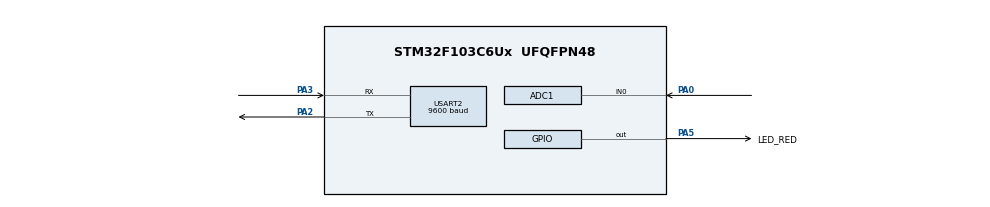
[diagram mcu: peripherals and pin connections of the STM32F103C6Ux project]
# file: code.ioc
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ADC1.Channel-0\#ChannelRegularConversion=ADC_CHANNEL_0
ADC1.ContinuousConvMode=ENABLE
ADC1.NbrOfConversionFlag=1
ADC1.Rank-0\#ChannelRegularConversion=1
ADC1.SamplingTime-0\#ChannelRegularConversion=ADC_SAMPLETIME_1CYCLE_5
ADC1.master=1
Mcu.Family=STM32F1
Mcu.Name=STM32F103C6Ux
Mcu.Package=UFQFPN48
NVIC.PriorityGroup=NVIC_PRIORITYGROUP_4
NVIC.TIM2_IRQn=true\:0\:0\:false\:false\:true\:true\:true
NVIC.USART2_IRQn=true\:0\:0\:false\:false\:true\:true\:true
PA0-WKUP.Signal=ADCx_IN0
PA2.Mode=Asynchronous
PA2.Signal=USART2_TX
PA3.Mode=Asynchronous
PA3.Signal=USART2_RX
PA5.GPIO_Label=LED_RED
PA5.Signal=GPIO_Output
ProjectManager.HeapSize=0x200
ProjectManager.StackSize=0x400
ProjectManager.TargetToolchain=STM32CubeIDE
RCC.APB1Freq_Value=8000000
RCC.APB2Freq_Value=8000000
SH.ADCx_IN0.0=ADC1_IN0,IN0
TIM2.Period=9
TIM2.Prescaler=7999
USART2.BaudRate=9600
USART2.VirtualMode=VM_ASYNC
VP_SYS_VS_ND.Mode=No_Debug
VP_TIM2_VS_ClockSourceINT.Mode=Internal
board=custom

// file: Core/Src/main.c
/* USER CODE BEGIN Header */
/**
  ******************************************************************************
  * @file           : main.c
  * @brief          : Main program body
  ******************************************************************************
  * @attention
  *
  * <h2><center>&copy; Copyright (c) 2024 STMicroelectronics.
  * All rights reserved.</center></h2>
  *
  * This software component is licensed by ST under BSD 3-Clause license,
  * the "License"; You may not use this file except in compliance with the
  * License. You may obtain a copy of the License at:
  *                        opensource.org/licenses/BSD-3-Clause
  *
  ******************************************************************************
  */
/* USER CODE END Header */
#include "main.h"

/* USER CODE BEGIN Includes */
#include <stdio.h>
#include "uart.h"
/* USER CODE END Includes */

ADC_HandleTypeDef hadc1;

TIM_HandleTypeDef htim2;

UART_HandleTypeDef huart2;

void SystemClock_Config(void);
static void MX_GPIO_Init(void);
static void MX_TIM2_Init(void);
static void MX_ADC1_Init(void);
static void MX_USART2_UART_Init(void);

/* USER CODE BEGIN 0 */
uint8_t temp = 0;

/* USER CODE END 0 */

int main(void)
{

  /* MCU Configuration--------------------------------------------------------*/

  /* Reset of all peripherals, Initializes the Flash interface and the Systick. */
  HAL_Init();

  /* Configure the system clock */
  SystemClock_Config();

  /* Initialize all configured peripherals */
  MX_GPIO_Init();
  MX_TIM2_Init();
  MX_ADC1_Init();
  MX_USART2_UART_Init();
  /* USER CODE BEGIN 2 */
  HAL_TIM_Base_Start_IT(& htim2);
  HAL_UART_Receive_IT(&huart2, &temp , 1);
  HAL_ADC_Start(&hadc1);
  init_uart();
  /* USER CODE END 2 */

  /* Infinite loop */
  /* USER CODE BEGIN WHILE */

  while (1)
  {
	  if( buffer_flag == 1) {
		  command_parser_fsm ();
		  buffer_flag = 0;
	  }
	  uart_communiation_fsm();
    /* USER CODE END WHILE */

  }
}

void SystemClock_Config(void)
{
  RCC_OscInitTypeDef RCC_OscInitStruct = {0};
  RCC_ClkInitTypeDef RCC_ClkInitStruct = {0};
  RCC_PeriphCLKInitTypeDef PeriphClkInit = {0};

  /** Initializes the RCC Oscillators according to the specified parameters
  * in the RCC_OscInitTypeDef structure.
  */
  RCC_OscInitStruct.OscillatorType = RCC_OSCILLATORTYPE_HSI;
  RCC_OscInitStruct.HSIState = RCC_HSI_ON;
  RCC_OscInitStruct.HSICalibrationValue = RCC_HSICALIBRATION_DEFAULT;
  RCC_OscInitStruct.PLL.PLLState = RCC_PLL_NONE;
  if (HAL_RCC_OscConfig(&RCC_OscInitStruct) != HAL_OK)
  {
    Error_Handler();
  }
  /** Initializes the CPU, AHB and APB buses clocks
  */
  RCC_ClkInitStruct.ClockType = RCC_CLOCKTYPE_HCLK|RCC_CLOCKTYPE_SYSCLK
                              |RCC_CLOCKTYPE_PCLK1|RCC_CLOCKTYPE_PCLK2;
  RCC_ClkInitStruct.SYSCLKSource = RCC_SYSCLKSOURCE_HSI;
  RCC_ClkInitStruct.AHBCLKDivider = RCC_SYSCLK_DIV1;
  RCC_ClkInitStruct.APB1CLKDivider = RCC_HCLK_DIV1;
  RCC_ClkInitStruct.APB2CLKDivider = RCC_HCLK_DIV1;

  if (HAL_RCC_ClockConfig(&RCC_ClkInitStruct, FLASH_LATENCY_0) != HAL_OK)
  {
    Error_Handler();
  }
  PeriphClkInit.PeriphClockSelection = RCC_PERIPHCLK_ADC;
  PeriphClkInit.AdcClockSelection = RCC_ADCPCLK2_DIV2;
  if (HAL_RCCEx_PeriphCLKConfig(&PeriphClkInit) != HAL_OK)
  {
    Error_Handler();
  }
}

static void MX_ADC1_Init(void)
{

  ADC_ChannelConfTypeDef sConfig = {0};

  /** Common config
  */
  hadc1.Instance = ADC1;
  hadc1.Init.ScanConvMode = ADC_SCAN_DISABLE;
  hadc1.Init.ContinuousConvMode = ENABLE;
  hadc1.Init.DiscontinuousConvMode = DISABLE;
  hadc1.Init.ExternalTrigConv = ADC_SOFTWARE_START;
  hadc1.Init.DataAlign = ADC_DATAALIGN_RIGHT;
  hadc1.Init.NbrOfConversion = 1;
  if (HAL_ADC_Init(&hadc1) != HAL_OK)
  {
    Error_Handler();
  }
  /** Configure Regular Channel
  */
  sConfig.Channel = ADC_CHANNEL_0;
  sConfig.Rank = ADC_REGULAR_RANK_1;
  sConfig.SamplingTime = ADC_SAMPLETIME_1CYCLE_5;
  if (HAL_ADC_ConfigChannel(&hadc1, &sConfig) != HAL_OK)
  {
    Error_Handler();
  }

}

static void MX_TIM2_Init(void)
{

  TIM_ClockConfigTypeDef sClockSourceConfig = {0};
  TIM_MasterConfigTypeDef sMasterConfig = {0};

  htim2.Instance = TIM2;
  htim2.Init.Prescaler = 7999;
  htim2.Init.CounterMode = TIM_COUNTERMODE_UP;
  htim2.Init.Period = 9;
  htim2.Init.ClockDivision = TIM_CLOCKDIVISION_DIV1;
  htim2.Init.AutoReloadPreload = TIM_AUTORELOAD_PRELOAD_DISABLE;
  if (HAL_TIM_Base_Init(&htim2) != HAL_OK)
  {
    Error_Handler();
  }
  sClockSourceConfig.ClockSource = TIM_CLOCKSOURCE_INTERNAL;
  if (HAL_TIM_ConfigClockSource(&htim2, &sClockSourceConfig) != HAL_OK)
  {
    Error_Handler();
  }
  sMasterConfig.MasterOutputTrigger = TIM_TRGO_RESET;
  sMasterConfig.MasterSlaveMode = TIM_MASTERSLAVEMODE_DISABLE;
  if (HAL_TIMEx_MasterConfigSynchronization(&htim2, &sMasterConfig) != HAL_OK)
  {
    Error_Handler();
  }

}

static void MX_USART2_UART_Init(void)
{

  huart2.Instance = USART2;
  huart2.Init.BaudRate = 9600;
  huart2.Init.WordLength = UART_WORDLENGTH_8B;
  huart2.Init.StopBits = UART_STOPBITS_1;
  huart2.Init.Parity = UART_PARITY_NONE;
  huart2.Init.Mode = UART_MODE_TX_RX;
  huart2.Init.HwFlowCtl = UART_HWCONTROL_NONE;
  huart2.Init.OverSampling = UART_OVERSAMPLING_16;
  if (HAL_UART_Init(&huart2) != HAL_OK)
  {
    Error_Handler();
  }

}

static void MX_GPIO_Init(void)
{
  GPIO_InitTypeDef GPIO_InitStruct = {0};

  /* GPIO Ports Clock Enable */
  __HAL_RCC_GPIOA_CLK_ENABLE();

  /*Configure GPIO pin Output Level */
  HAL_GPIO_WritePin(LED_RED_GPIO_Port, LED_RED_Pin, GPIO_PIN_RESET);

  /*Configure GPIO pin : LED_RED_Pin */
  GPIO_InitStruct.Pin = LED_RED_Pin;
  GPIO_InitStruct.Mode = GPIO_MODE_OUTPUT_PP;
  GPIO_InitStruct.Pull = GPIO_NOPULL;
  GPIO_InitStruct.Speed = GPIO_SPEED_FREQ_LOW;
  HAL_GPIO_Init(LED_RED_GPIO_Port, &GPIO_InitStruct);

}

/* USER CODE BEGIN 4 */

void HAL_TIM_PeriodElapsedCallback(TIM_HandleTypeDef *htim)
{
	decrease_time_out();
	blink_led();
}

void HAL_UART_RxCpltCallback ( UART_HandleTypeDef * huart ) {
	if( huart -> Instance == USART2 )
	{
//		HAL_UART_Transmit (& huart2 , &temp , 1, 50);
		buffer[index_buffer++] = temp ;
		if( index_buffer >= 30)
			index_buffer = 0;
		buffer_flag = 1;
		HAL_UART_Receive_IT(&huart2, &temp, 1);
	}
}

/* USER CODE END 4 */

void Error_Handler(void)
{
  __disable_irq();
  while (1)
  {
  }
}

/************************ (C) COPYRIGHT STMicroelectronics *****END OF FILE****/
